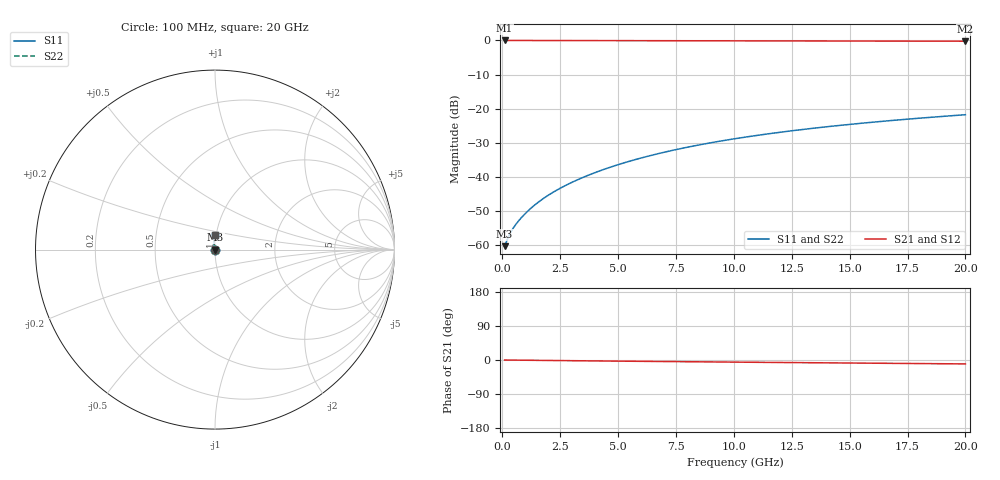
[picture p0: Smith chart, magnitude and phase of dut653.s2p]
! Touchstone file exported from HFSS 2024.1.0
!  File:  C:/UserFiles/LocalFiles/RDL_TSV_Batchsim/temp_RDL_bottom_653_1779785425.aedt
!  Generated:  04:52:54 PM May 26, 2026
!  Design:  RDL_bottom
!  Project:  temp_RDL_bottom_653_1779785425
!  Setup:  Setup1
!  Solution:  Sweep
! Variables:
!  dtsv = 10.80580581um
!  hbump = 3um
!  htsv = 52.18um
!  ldown = 156.22um
!  lrdl = 100um
!  p = 40
!  p1 = 40.82um
!  rhole = 1um
!  t = 450um
!  tdown = 3.16um
!  trdl = 3.915915916um
!  wdown = 28.93um
!  wrdl = 20um
# GHz S MA R 50.000000
! Terminal data exported
! Port[1] = RDL1_T1
! Port[2] = RDL1_T2
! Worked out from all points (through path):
!   200 points, 100 MHz to 20 GHz, reference 50 ohm
!   highest |S21| = -0.01 dB at 100 MHz (marker M1); lowest = -0.2 dB at 20 GHz (marker M2)
!   group delay of S21, straight-line fit = 1.41 ps
!   lowest |S11| = -60.2 dB at 100 MHz (marker M3), VSWR 1.00, Z = 50.1 + j0.0361 ohm
!   |S11| at or under -10 dB: start of sweep to end of sweep
!   |S22| runs from -60.2 to -21.8 dB; largest |S21 - S12| = 4.1e-15
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0.1  0.0009729 21.7  0.9991 -0.1  0.9991 -0.1  0.0009729 21.7
! Gamma 0 0 0 0
! Port Impedance 50 0 50 0
0.2  0.001182 35.5  0.999 -0.1  0.999 -0.1  0.001182 35.5
0.3  0.001412 43.6  0.9989 -0.2  0.9989 -0.2  0.001412 43.6
0.4  0.001633 49.2  0.9989 -0.3  0.9989 -0.3  0.001633 49.2
0.5  0.001847 53.6  0.9988 -0.3  0.9988 -0.3  0.001847 53.6
0.7  0.002273 60.8  0.9987 -0.4  0.9987 -0.4  0.002273 60.8
0.9  0.002713 66.4  0.9986 -0.6  0.9986 -0.6  0.002713 66.4
1.3  0.00365 74.6  0.9983 -0.8  0.9983 -0.8  0.00365 74.6
1.8  0.004919 81.3  0.9979 -1.1  0.9979 -1.1  0.004919 81.3
2.3  0.006283 86.0  0.9975 -1.4  0.9975 -1.4  0.006283 86.0
2.9  0.008041 89.9  0.9968 -1.8  0.9968 -1.8  0.008041 89.9
3.5  0.009927 92.8  0.996 -2.1  0.996 -2.1  0.009927 92.8
4.2  0.01229 95.1  0.9949 -2.5  0.9949 -2.5  0.01229 95.1
5  0.01517 96.8  0.9937 -3.0  0.9937 -3.0  0.01517 96.8
5.9  0.01863 97.9  0.9922 -3.5  0.9922 -3.5  0.01863 97.9
6.8  0.02228 98.4  0.9907 -4.0  0.9907 -4.0  0.02228 98.4
8.4  0.0291 98.3  0.9881 -4.8  0.9881 -4.8  0.0291 98.3
10.1  0.03665 97.4  0.9855 -5.6  0.9855 -5.6  0.03665 97.4
11.7  0.0439 96.3  0.9833 -6.4  0.9833 -6.4  0.0439 96.3
13.4  0.05167 94.9  0.9812 -7.2  0.9812 -7.2  0.05167 94.9
16.7  0.06676 92.1  0.9776 -8.8  0.9776 -8.8  0.06676 92.1
20  0.08171 89.4  0.9745 -10.3  0.9745 -10.3  0.08171 89.4
